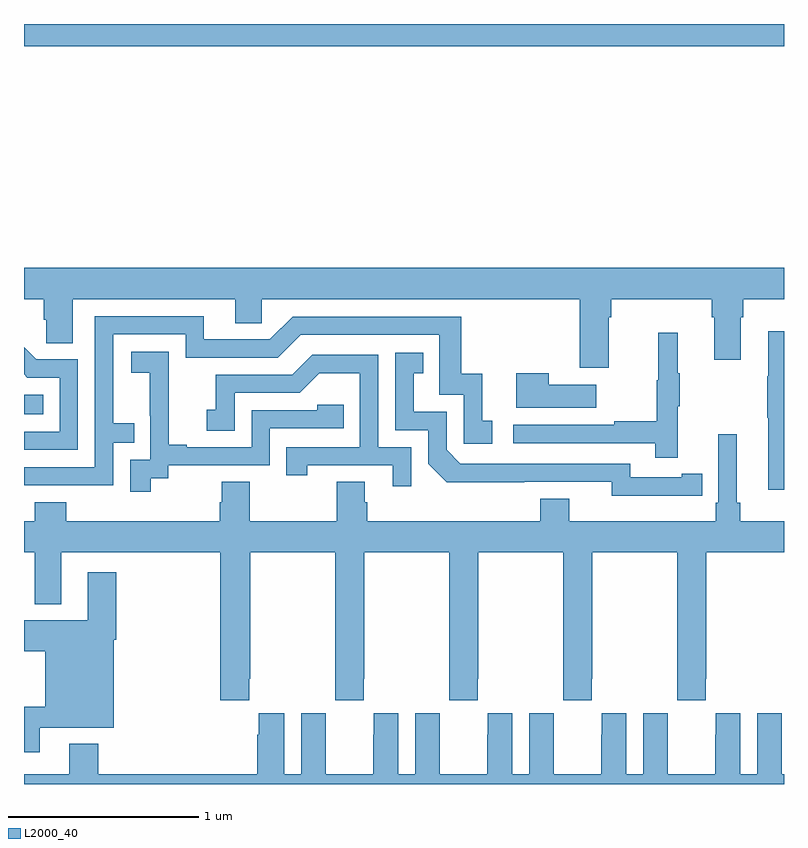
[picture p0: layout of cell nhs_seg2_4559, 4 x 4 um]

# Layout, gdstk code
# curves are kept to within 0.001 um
import gdstk
lib = gdstk.Library(unit=1e-6, precision=1e-09)
def R(c, l, rs):  # rectangles x0, y0, x1, y1
    for r in rs: c.add(gdstk.rectangle(r[:2], r[2:], *l))
def P(c, l, *ps):  # polygons
    for p in ps: c.add(gdstk.Polygon(p, *l))
L2000_40 = (2000, 40)

nhs_seg2_4559 = lib.new_cell('nhs_seg2_4559')
R(nhs_seg2_4559, L2000_40, [(359,597.746,359.102,597.85), (359,599.684,363,599.8)])
P(nhs_seg2_4559, L2000_40, [(362.077,598.256),(362.09,598.256),(362.09,598.352),(362.621,598.352),(362.621,598.256),(362.633,598.256),(362.633,598.032),(362.773,598.032),(362.773,598.256),(362.786,598.256),(362.786,598.352),(363,598.352),(363,598.516),(359,598.516),(359,598.352),(359.105,598.352),(359.105,598.243),(359.118,598.243),(359.118,598.12),(359.257,598.12),(359.257,598.352),(360.113,598.352),(360.113,598.225),(360.252,598.225),(360.252,598.352),(361.925,598.352),(361.925,597.99),(362.077,597.99)],
  [(359.469,597.597),(359.579,597.597),(359.579,597.698),(359.469,597.698),(359.469,598.167),(359.85,598.167),(359.85,598.044),(360.336,598.044),(360.456,598.164),(361.185,598.164),(361.185,597.849),(361.314,597.849),(361.314,597.591),(361.465,597.591),(361.465,597.711),(361.412,597.711),(361.412,597.958),(361.301,597.958),(361.301,598.26),(360.414,598.26),(360.294,598.14),(359.947,598.14),(359.947,598.263),(359.373,598.263),(359.373,597.468),(359,597.468),(359,597.372),(359.469,597.372)],
  [(363,598.183),(362.918,598.183),(362.918,597.945),(362.911,597.945),(362.911,597.727),(362.918,597.727),(362.918,597.348),(363,597.348)],
  [(362.441,597.787),(362.452,597.787),(362.452,597.961),(362.441,597.961),(362.441,598.174),(362.338,598.174),(362.338,597.924),(362.331,597.924),(362.331,597.71),(362.107,597.71),(362.107,597.69),(361.575,597.69),(361.575,597.594),(362.323,597.594),(362.323,597.516),(362.441,597.516)],
  [(359.283,598.035),(359.064,598.035),(359,598.099),(359,597.957),(359.018,597.939),(359.187,597.939),(359.187,597.654),(359,597.654),(359,597.558),(359.283,597.558)],
  [(359.668,597.409),(359.76,597.409),(359.76,597.477),(360.294,597.477),(360.294,597.672),(360.683,597.672),(360.683,597.795),(360.543,597.795),(360.543,597.768),(360.198,597.768),(360.198,597.573),(359.857,597.573),(359.857,597.586),(359.762,597.586),(359.762,597.869),(359.763,597.869),(359.763,598.075),(359.565,598.075),(359.565,597.965),(359.663,597.965),(359.663,597.737),(359.664,597.737),(359.664,597.507),(359.559,597.507),(359.559,597.339),(359.668,597.339)],
  [(362.462,597.318),(362.57,597.318),(362.57,597.434),(362.462,597.434),(362.462,597.414),(362.19,597.414),(362.19,597.486),(361.296,597.486),(361.224,597.558),(361.224,597.759),(361.051,597.759),(361.051,597.963),(361.1,597.963),(361.1,598.069),(360.954,598.069),(360.954,597.663),(361.128,597.663),(361.128,597.486),(361.226,597.389),(362.094,597.39),(362.094,597.317)],
  [(361.038,597.573),(360.864,597.573),(360.864,598.059),(360.518,598.059),(360.413,597.954),(360.01,597.954),(360.01,597.769),(359.961,597.769),(359.961,597.66),(360.108,597.66),(360.108,597.858),(360.45,597.858),(360.554,597.962),(360.768,597.962),(360.768,597.573),(360.379,597.573),(360.379,597.426),(360.49,597.426),(360.49,597.477),(360.941,597.477),(360.941,597.366),(361.038,597.366)],
  [(362.011,597.901),(361.763,597.901),(361.763,597.961),(361.592,597.961),(361.592,597.779),(362.011,597.779)],
  [(360.185,596.353),(360.192,596.353),(360.192,597.02),(360.637,597.02),(360.637,596.353),(360.639,596.353),(360.639,596.241),(360.789,596.241),(360.789,596.353),(360.792,596.353),(360.792,597.02),(361.237,597.02),(361.237,596.353),(361.239,596.353),(361.239,596.241),(361.389,596.241),(361.389,596.353),(361.392,596.353),(361.392,597.02),(361.837,597.02),(361.837,596.353),(361.839,596.353),(361.839,596.241),(361.989,596.241),(361.989,596.353),(361.992,596.353),(361.992,597.02),(362.437,597.02),(362.437,596.353),(362.439,596.353),(362.439,596.241),(362.589,596.241),(362.589,596.353),(362.592,596.353),(362.592,597.02),(363,597.02),(363,597.184),(362.771,597.184),(362.771,597.28),(362.752,597.28),(362.752,597.64),(362.655,597.64),(362.655,597.28),(362.642,597.28),(362.642,597.184),(361.87,597.184),(361.87,597.301),(361.718,597.301),(361.718,597.184),(360.806,597.184),(360.806,597.282),(360.793,597.282),(360.793,597.392),(360.646,597.392),(360.646,597.184),(360.189,597.184),(360.189,597.392),(360.041,597.392),(360.041,597.282),(360.029,597.282),(360.029,597.184),(359.222,597.184),(359.222,597.283),(359.057,597.283),(359.057,597.184),(359,597.184),(359,597.02),(359.057,597.02),(359.057,596.747),(359.197,596.747),(359.197,597.02),(360.032,597.02),(360.032,596.241),(360.185,596.241)],
  [(359.083,596.096),(359.473,596.096),(359.473,596.558),(359.486,596.558),(359.486,596.914),(359.336,596.914),(359.336,596.662),(359,596.662),(359,596.498),(359.111,596.498),(359.111,596.206),(359,596.206),(359,595.968),(359.083,595.968)],
  [(363,595.852),(362.989,595.852),(362.989,596.06),(362.988,596.06),(362.988,596.173),(362.858,596.173),(362.858,595.852),(362.77,595.852),(362.77,596.173),(362.64,596.173),(362.64,596.06),(362.639,596.06),(362.639,595.852),(362.389,595.852),(362.389,596.06),(362.388,596.06),(362.388,596.173),(362.258,596.173),(362.258,595.852),(362.17,595.852),(362.17,596.173),(362.04,596.173),(362.04,596.06),(362.039,596.06),(362.039,595.852),(361.789,595.852),(361.789,596.06),(361.788,596.06),(361.788,596.173),(361.658,596.173),(361.658,595.852),(361.57,595.852),(361.57,596.173),(361.44,596.173),(361.44,596.06),(361.439,596.06),(361.439,595.852),(361.189,595.852),(361.189,596.06),(361.188,596.06),(361.188,596.173),(361.058,596.173),(361.058,595.852),(360.97,595.852),(360.97,596.173),(360.84,596.173),(360.84,596.06),(360.839,596.06),(360.839,595.852),(360.589,595.852),(360.589,596.06),(360.588,596.06),(360.588,596.173),(360.458,596.173),(360.458,595.852),(360.37,595.852),(360.37,596.173),(360.236,596.173),(360.236,596.06),(360.227,596.06),(360.227,595.852),(359.39,595.852),(359.39,596.011),(359.237,596.011),(359.237,595.852),(359,595.852),(359,595.8),(363,595.8)])

lib.write_gds('nhs_seg2_4559.gds')
